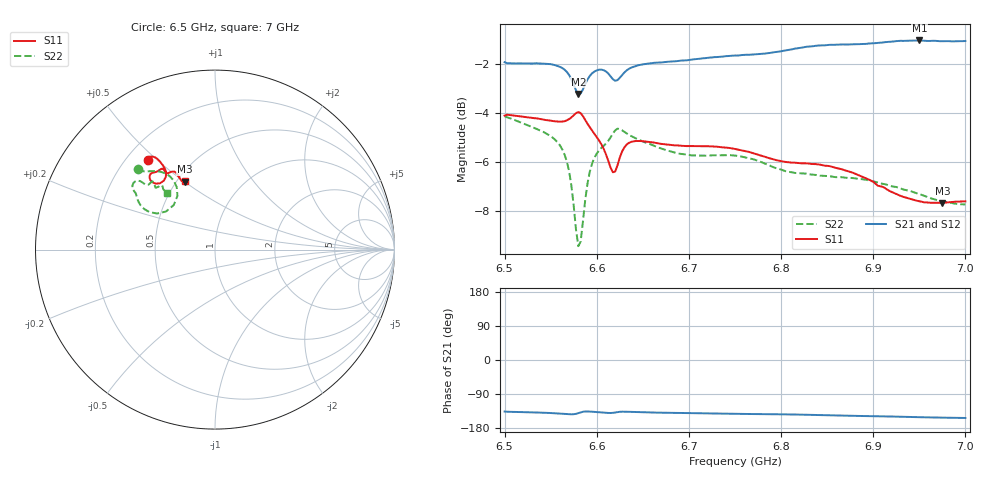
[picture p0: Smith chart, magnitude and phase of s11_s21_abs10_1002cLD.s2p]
! MS46122B
! 1919307/90821646
! 7/29/2022 2:44:43 PM
! C:\USERS\PC_\DESKTOP\MEDICIONES\BANCHA ESTRECHA\65_7GHZ\S11_S21_ABS10_1002CL.S2P
! CHANNEL.1
! TR.MEASUREMENT
! CORRECTED.DATA
# GHZ S RI R 50.0
! FREQ.GHZ  S11RE  S11IM  S21RE  S21IM  S12RE  S12IM  S22RE  S22IM
!; PortSelection: Port_12
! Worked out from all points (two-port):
!   201 points, 6.5 GHz to 7 GHz, reference 50 ohm
!   highest |S21| = -1.05 dB at 6.95 GHz (marker M1); lowest = -3.2 dB at 6.58 GHz (marker M2)
!   |S21| within 3 dB of the highest: start of sweep to end of sweep
!   lowest |S11| = -7.6 dB at 6.975 GHz (marker M3), VSWR 2.42, Z = 27.4 + j25.1 ohm
!   |S11| at or under -10 dB: nowhere
!   |S22| runs from -9.4 to -4.1 dB; largest |S21 - S12| = 0.012
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6.5  -0.3721 0.5006  -0.5769 -0.5555  -0.5734 -0.5554  -0.4296 0.4489
6.5425  -0.377 0.4821  -0.6023 -0.5194  -0.5986 -0.5286  -0.3785 0.4358
6.565  -0.3785 0.475  -0.6115 -0.4735  -0.6116 -0.4819  -0.292 0.4303
6.5725  -0.3853 0.4839  -0.5926 -0.4413  -0.5928 -0.4485  -0.2303 0.3852
6.5775  -0.3831 0.5014  -0.5535 -0.4313  -0.5535 -0.4385  -0.2092 0.2995
6.58  -0.374 0.5122  -0.5305 -0.4414  -0.5306 -0.4486  -0.2299 0.2484
6.5825  -0.3601 0.5183  -0.5152 -0.4615  -0.5153 -0.4689  -0.2727 0.2122
6.585  -0.3449 0.5178  -0.5121 -0.4847  -0.5123 -0.4921  -0.3226 0.201
6.59  -0.3222 0.5061  -0.5298 -0.5149  -0.5304 -0.5222  -0.3944 0.226
6.595  -0.3086 0.4927  -0.5515 -0.5237  -0.5521 -0.5308  -0.4241 0.2624
6.6125  -0.272 0.4252  -0.5797 -0.4907  -0.5813 -0.4946  -0.4496 0.3239
6.62  -0.3066 0.3693  -0.5494 -0.487  -0.5502 -0.4899  -0.4601 0.3565
6.625  -0.3489 0.3751  -0.542 -0.5107  -0.5429 -0.5146  -0.4474 0.3779
6.63  -0.3636 0.3962  -0.553 -0.5261  -0.5534 -0.5304  -0.4323 0.3836
6.6425  -0.3585 0.422  -0.5787 -0.5325  -0.5799 -0.5365  -0.4124 0.3795
6.6675  -0.3391 0.4298  -0.6027 -0.5254  -0.6048 -0.5262  -0.3927 0.3655
6.75  -0.2884 0.4489  -0.6513 -0.5084  -0.6502 -0.5068  -0.3505 0.3804
6.835  -0.2451 0.4327  -0.7065 -0.4959  -0.7027 -0.4949  -0.3199 0.3484
6.9175  -0.1936 0.3935  -0.756 -0.4524  -0.7461 -0.4526  -0.2893 0.3438
6.95  -0.1771 0.3782  -0.775 -0.4308  -0.7652 -0.435  -0.2803 0.3289
6.975  -0.1687 0.3786  -0.7811 -0.4132  -0.7729 -0.4179  -0.271 0.3177
7  -0.1678 0.3822  -0.788 -0.4018  -0.7798 -0.4062  -0.2656 0.314
